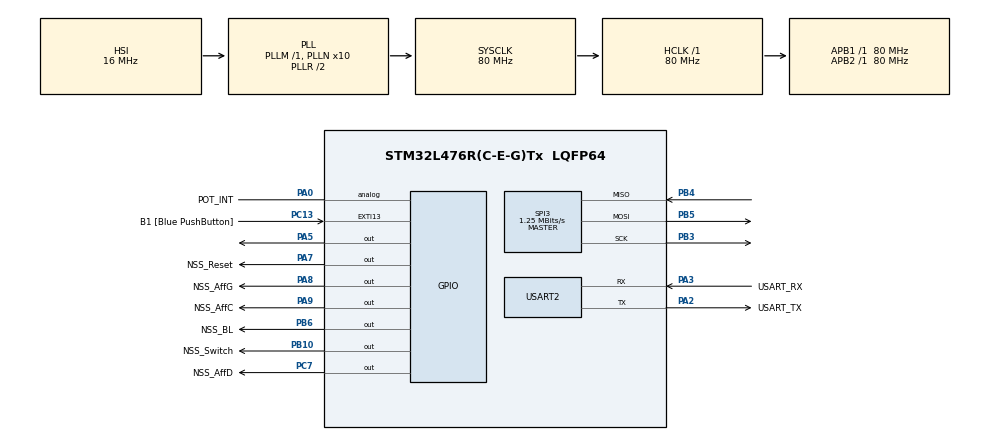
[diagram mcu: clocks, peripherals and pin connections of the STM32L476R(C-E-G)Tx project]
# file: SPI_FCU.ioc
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Mcu.Family=STM32L4
Mcu.Name=STM32L476R(C-E-G)Tx
Mcu.Package=LQFP64
NVIC.PriorityGroup=NVIC_PRIORITYGROUP_4
NVIC.USART2_IRQn=true\:0\:0\:false\:false\:true\:true
PA0.GPIO_Label=POT_INT
PA0.Signal=GPIO_Analog
PA13\ (JTMS-SWDIO).GPIO_Label=TMS
PA13\ (JTMS-SWDIO).Mode=Serial_Wire
PA13\ (JTMS-SWDIO).Signal=SYS_JTMS-SWDIO
PA14\ (JTCK-SWCLK).GPIO_Label=TCK
PA14\ (JTCK-SWCLK).Mode=Serial_Wire
PA14\ (JTCK-SWCLK).Signal=SYS_JTCK-SWCLK
PA2.GPIO_Label=USART_TX
PA2.GPIO_Mode=GPIO_MODE_AF_PP
PA2.GPIO_PuPd=GPIO_NOPULL
PA2.GPIO_Speed=GPIO_SPEED_FREQ_VERY_HIGH
PA2.Mode=Asynchronous
PA2.Signal=USART2_TX
PA3.GPIO_Label=USART_RX
PA3.GPIO_Mode=GPIO_MODE_AF_PP
PA3.GPIO_PuPd=GPIO_NOPULL
PA3.GPIO_Speed=GPIO_SPEED_FREQ_VERY_HIGH
PA3.Mode=Asynchronous
PA3.Signal=USART2_RX
PA5.Signal=GPIO_Output
PA7.GPIO_Label=NSS_Reset
PA7.Signal=GPIO_Output
PA8.GPIO_Label=NSS_AffG
PA8.GPIO_Speed=GPIO_SPEED_FREQ_HIGH
PA8.PinState=GPIO_PIN_SET
PA8.Signal=GPIO_Output
PA9.GPIO_Label=NSS_AffC
PA9.GPIO_Speed=GPIO_SPEED_FREQ_HIGH
PA9.PinState=GPIO_PIN_SET
PA9.Signal=GPIO_Output
PB10.GPIO_Label=NSS_Switch
PB10.GPIO_Speed=GPIO_SPEED_FREQ_HIGH
PB10.PinState=GPIO_PIN_SET
PB10.Signal=GPIO_Output
PB3\ (JTDO-TRACESWO).Mode=Full_Duplex_Master
PB3\ (JTDO-TRACESWO).Signal=SPI3_SCK
PB4\ (NJTRST).Mode=Full_Duplex_Master
PB4\ (NJTRST).Signal=SPI3_MISO
PB5.Mode=Full_Duplex_Master
PB5.Signal=SPI3_MOSI
PB6.GPIO_Label=NSS_BL
PB6.GPIO_Speed=GPIO_SPEED_FREQ_HIGH
PB6.PinState=GPIO_PIN_SET
PB6.Signal=GPIO_Output
PC13.GPIO_Label=B1 [Blue PushButton]
PC13.GPIO_ModeDefaultEXTI=GPIO_MODE_IT_FALLING
PC13.GPIO_PuPd=GPIO_NOPULL
PC13.Signal=GPXTI13
PC14-OSC32_IN\ (PC14).Mode=LSE-External-Oscillator
PC14-OSC32_IN\ (PC14).Signal=RCC_OSC32_IN
PC15-OSC32_OUT\ (PC15).Mode=LSE-External-Oscillator
PC15-OSC32_OUT\ (PC15).Signal=RCC_OSC32_OUT
PC7.GPIO_Label=NSS_AffD
PC7.GPIO_Speed=GPIO_SPEED_FREQ_HIGH
PC7.PinState=GPIO_PIN_SET
PC7.Signal=GPIO_Output
PH0-OSC_IN\ (PH0).Signal=RCC_OSC_IN
PH1-OSC_OUT\ (PH1).Signal=RCC_OSC_OUT
ProjectManager.HeapSize=0x200
ProjectManager.StackSize=0x400
ProjectManager.TargetToolchain=TrueSTUDIO
RCC.ADCFreq_Value=64000000
RCC.AHBFreq_Value=80000000
RCC.APB1Freq_Value=80000000
RCC.APB1TimFreq_Value=80000000
RCC.APB2Freq_Value=80000000
RCC.APB2TimFreq_Value=80000000
RCC.CortexFreq_Value=80000000
RCC.HCLKFreq_Value=80000000
RCC.HSE_VALUE=8000000
RCC.HSI_VALUE=16000000
RCC.MSI_VALUE=4000000
RCC.PLLN=10
RCC.PLLSourceVirtual=RCC_PLLSOURCE_HSI
RCC.PREFETCH_ENABLE=1
RCC.SYSCLKFreq_VALUE=80000000
RCC.SYSCLKSource=RCC_SYSCLKSOURCE_PLLCLK
RCC.USBFreq_Value=64000000
RCC.VCOOutputFreq_Value=160000000
SPI3.BaudRatePrescaler=SPI_BAUDRATEPRESCALER_64
SPI3.CLKPolarity=SPI_POLARITY_HIGH
SPI3.CalculateBaudRate=1.25 MBits/s
SPI3.DataSize=SPI_DATASIZE_8BIT
SPI3.Direction=SPI_DIRECTION_2LINES
SPI3.Mode=SPI_MODE_MASTER
SPI3.VirtualType=VM_MASTER
USART2.VirtualMode-Asynchronous=VM_ASYNC
USART2.WordLength=WORDLENGTH_8B
board=NUCLEO-L476RG

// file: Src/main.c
/**
  ******************************************************************************
  * @file           : main.c
  * @brief          : Main program body
  ******************************************************************************
  ** This notice applies to any and all portions of this file
  * that are not between comment pairs USER CODE BEGIN and
  * USER CODE END. Other portions of this file, whether
  * inserted by the user or by software development tools
  * are owned by their respective copyright owners.
  *
  * COPYRIGHT(c) 2018 STMicroelectronics
  *
  * Redistribution and use in source and binary forms, with or without modification,
  * are permitted provided that the following conditions are met:
  *   1. Redistributions of source code must retain the above copyright notice,
  *      this list of conditions and the following disclaimer.
  *   2. Redistributions in binary form must reproduce the above copyright notice,
  *      this list of conditions and the following disclaimer in the documentation
  *      and/or other materials provided with the distribution.
  *   3. Neither the name of STMicroelectronics nor the names of its contributors
  *      may be used to endorse or promote products derived from this software
  *      without specific prior written permission.
  *
  * THIS SOFTWARE IS PROVIDED BY THE COPYRIGHT HOLDERS AND CONTRIBUTORS "AS IS"
  * AND ANY EXPRESS OR IMPLIED WARRANTIES, INCLUDING, BUT NOT LIMITED TO, THE
  * IMPLIED WARRANTIES OF MERCHANTABILITY AND FITNESS FOR A PARTICULAR PURPOSE ARE
  * DISCLAIMED. IN NO EVENT SHALL THE COPYRIGHT HOLDER OR CONTRIBUTORS BE LIABLE
  * FOR ANY DIRECT, INDIRECT, INCIDENTAL, SPECIAL, EXEMPLARY, OR CONSEQUENTIAL
  * DAMAGES (INCLUDING, BUT NOT LIMITED TO, PROCUREMENT OF SUBSTITUTE GOODS OR
  * SERVICES; LOSS OF USE, DATA, OR PROFITS; OR BUSINESS INTERRUPTION) HOWEVER
  * CAUSED AND ON ANY THEORY OF LIABILITY, WHETHER IN CONTRACT, STRICT LIABILITY,
  * OR TORT (INCLUDING NEGLIGENCE OR OTHERWISE) ARISING IN ANY WAY OUT OF THE USE
  * OF THIS SOFTWARE, EVEN IF ADVISED OF THE POSSIBILITY OF SUCH DAMAGE.
  *
  * Cet exemple teste l'affichage de la partie gauche du FCU
  *
  ******************************************************************************
  */
#include "main.h"
#include "stm32l4xx_hal.h"
#include "fcu_functions.h"

/* USER CODE BEGIN Includes */

#define LOW 0
#define HIGH 1

#define swGauche0 0
#define swGauche1 1
#define swCentre0 2
#define swCentre1 3
#define swDroite0 4
#define swDroite1 5

/* USER CODE END Includes */

UART_HandleTypeDef huart2;

/* USER CODE BEGIN PV */
/* Private variables ---------------------------------------------------------*/

int data_receive;
char Rx_indx, Rx_Buffer[100], buffer[100], inputByte[15];
uint8_t noOp = 0; len = 0, Transfer_cplt = 0, Rx_data[2], spidata[16], dataSwitch[6];

int swGauche0A = 0; swGauche0B = 0; swGauche1A = 0; swGauche1B = 0; swCentre0A = 0; swCentre0B = 0;
int swCentre1A = 0; swCentre1B = 0; swDroite0A = 0; swDroite0B = 0; swDroite1A = 0; swDroite1B = 0;
uint8_t Gauche = 0; uint8_t Centre = 0; uint8_t Droite = 0;

/* USER CODE END PV */

void SystemClock_Config(void);
static void MX_GPIO_Init(void);
static void MX_USART2_UART_Init(void);
static void MX_SPI3_Init(void);

/* USER CODE BEGIN PFP */
/* Private function prototypes -----------------------------------------------*/

/* USER CODE END PFP */

/* USER CODE BEGIN 0 */

// Afficher sur le port série
void Serial_Transmit_Str(char* str)
{
	HAL_UART_Transmit(&huart2, str, strlen(str), 1000);
}

void Serial_Transmit_Int(uint8_t i[])
{
	HAL_UART_Transmit(&huart2, i, strlen(i), 1000);
}

void Serial_Transmit_I(int * i)
{
	HAL_UART_Transmit(&huart2, i, 1, 1000);
}

// Recevoir une donnée du port série par interruption
void HAL_UART_RxCpltCallback(UART_HandleTypeDef *huart)
{
	int i;

	if(huart->Instance == USART2)
	{
		if(Rx_indx==0) {for(i=0; i<100;i++) Rx_Buffer[i]=0;}

		Rx_Buffer[Rx_indx++]=Rx_data[0];
		Transfer_cplt = 1;

		//HAL_UART_Receive_IT(&huart2, Rx_data, 1);
	}
}

// Changer la polarité de l'horloge (Elle doit être à HIGH pour l'afficheur et à LOW pour les switchs)
int setClockPolarity(int cpol)
{
	if(cpol)
		hspi3.Init.CLKPolarity = SPI_POLARITY_HIGH;
	else
		hspi3.Init.CLKPolarity = SPI_POLARITY_LOW;

	if (HAL_SPI_Init(&hspi3) != HAL_OK)
	{
		return 0;
	}
	return 1;
}

int bitRead(uint8_t byte, int nb)
{
	if(nb > 8 || nb < 0)
		return -1;
	return (byte >> nb) & 1;
}

int bitSet(uint8_t byte, int nb)
{
	if(nb > 8 || nb < 0)
		return -1;
	return byte | (1 << nb);
}

int bitClear(uint8_t byte, int nb)
{
	if(nb > 8 || nb < 0)
		return -1;
	return byte & ~(1 << nb);
}

void refreshGauche()
{
	swGauche0A = FCU_ReceiveSW(swGauche0, RGPIOA);
	swGauche0B = FCU_ReceiveSW(swGauche0, RGPIOB);
	swGauche1A = FCU_ReceiveSW(swGauche1, RGPIOA);
	swGauche1B = FCU_ReceiveSW(swGauche1, RGPIOB);
	dataSwitch[0] = 0;
	dataSwitch[5] = 255;
	dataSwitch[1] = bitRead(swGauche1B, 5)*128 + bitRead(swGauche1B, 4)*64 + bitRead(swGauche1A, 7)*32 + bitRead(swGauche1B, 7)*16 +
			bitRead(swGauche1A, 6)*8 + bitRead(swGauche1A, 5)*4 + bitRead(swGauche1A, 4)*2 + bitRead(swGauche1A, 3);

	dataSwitch[2] = bitRead(swGauche0B, 0)*128 + bitRead(swGauche0B, 1)*64 + bitRead(swGauche0B, 2)*32 + bitRead(swGauche0B, 3)*16 +
			bitRead(swGauche0B, 4)*8 + bitRead(swGauche1A, 0)*4 + bitRead(swGauche0A, 5)*2 + bitRead(swGauche0A, 7);

	dataSwitch[3] = bitRead(swGauche0A, 6)*128 + bitRead(swGauche0A, 4)*64 + bitRead(swGauche0A, 2)*32 + bitRead(swGauche0B, 7)*16 +
			bitRead(swGauche0B, 6)*8 + bitRead(swGauche0B, 5)*4 + bitRead(swGauche0A, 1)*2 + bitRead(swGauche0A, 0);

	dataSwitch[4] = bitRead(swGauche1A, 2)*128 + bitRead(swGauche1A, 1)*64;
	for(int i = 0; i < 6; i++)
	{
		Serial_Transmit_I(&dataSwitch[i]);
	}
}

void refreshCentre()
{
	swCentre0A = FCU_ReceiveSW(swCentre0, RGPIOA);
	swCentre0B = FCU_ReceiveSW(swCentre0, RGPIOB);
	swCentre1A = FCU_ReceiveSW(swCentre1, RGPIOA);
	swCentre1B = FCU_ReceiveSW(swCentre1, RGPIOB);
	dataSwitch[0] = 1;
	dataSwitch[5] = 254;
	dataSwitch[1] = bitRead(swCentre0A, 2)*128 + bitRead(swCentre0A, 3)*64 + bitRead(swCentre0A, 1)*32 + bitRead(swCentre0A, 0)*16 +
	             bitRead(swCentre0A, 6)*8 + bitRead(swCentre0A, 7)*4 + bitRead(swCentre0A, 5)*2 + bitRead(swCentre0A, 4);

	dataSwitch[2] = bitRead(swCentre0B, 3)*128 + bitRead(swCentre0B, 1)*64 + bitRead(swCentre0B, 4)*32 + bitRead(swCentre0B, 5)*16 +
				 bitRead(swCentre0B, 2)*8 + bitRead(swCentre1A, 1)*4 + bitRead(swCentre1B, 1)*2 + bitRead(swCentre1B, 0);

	dataSwitch[3] = bitRead(swCentre1B, 7)*128 + bitRead(swCentre1B, 6)*64 + bitRead(swCentre1B, 5)*32 + bitRead(swCentre1B, 4)*16 +
				 bitRead(swCentre1A, 6)*8 + bitRead(swCentre1A, 7)*4 + bitRead(swCentre1A, 5)*2 + bitRead(swCentre1A, 4);

	dataSwitch[4] = bitRead(swCentre1A, 3)*128 + bitRead(swCentre1A, 2)*64 + bitRead(swCentre0B, 7)*32 + bitRead(swCentre0B, 6)*16 +
				 bitRead(swCentre1B, 2)*8 + bitRead(swCentre1B, 3)*4;
	for(int i = 0; i < 6; i++)
	{
		Serial_Transmit_I(&dataSwitch[i]);
	}
}

void refreshDroite()
{
	swDroite0A = FCU_ReceiveSW(swDroite0, RGPIOA);
	swDroite0B = FCU_ReceiveSW(swDroite0, RGPIOB);
	swDroite1A = FCU_ReceiveSW(swDroite1, RGPIOA);
	swDroite1B = FCU_ReceiveSW(swDroite1, RGPIOB);
	dataSwitch[0] = 2;
	dataSwitch[5] = 253;
	dataSwitch[1] = bitRead(swDroite1B, 5)*128 + bitRead(swDroite1B, 4)*64 + bitRead(swDroite1A, 1)*32 + bitRead(swDroite1B, 7)*16 +
	             bitRead(swDroite1A, 3)*8 + bitRead(swDroite1A, 2)*4 + bitRead(swDroite1A, 4)*2 + bitRead(swDroite1A, 5);

	dataSwitch[2] = bitRead(swDroite0B, 4)*128 + bitRead(swDroite0B, 3)*64 + bitRead(swDroite0B, 2)*32 + bitRead(swDroite0B, 1)*16 +
	             bitRead(swDroite0B, 0)*8 + bitRead(swDroite0A, 1)*4 + bitRead(swDroite0B, 7)*2 + bitRead(swDroite0B, 6);

	dataSwitch[3] = bitRead(swDroite0B, 5)*128 + bitRead(swDroite0A, 0)*64 + bitRead(swDroite0A, 2)*32 + bitRead(swDroite0A, 5)*16 +
	             bitRead(swDroite0A, 7)*8 + bitRead(swDroite0A, 6)*4 + bitRead(swDroite0A, 4)*2 + bitRead(swDroite0A, 3);

	dataSwitch[4] = bitRead(swDroite1B, 1)*128 + bitRead(swDroite1B, 2)*64;
	for(int i = 0; i < 6; i++)
	{
		Serial_Transmit_I(&dataSwitch[i]);
	}
}

/* USER CODE END 0 */

int main(void)
{

  /* MCU Configuration----------------------------------------------------------*/

  /* Reset of all peripherals, Initializes the Flash interface and the Systick. */
  HAL_Init();

  /* Configure the system clock */
  SystemClock_Config();

  /* Initialize all configured peripherals */
  MX_GPIO_Init();
  MX_USART2_UART_Init();
  MX_SPI3_Init();
  /* USER CODE BEGIN 2 */
  HAL_UART_Receive_IT(&huart2, Rx_data, 1);
  HAL_GPIO_WritePin(NSS_Reset_GPIO_Port, NSS_Reset_Pin, GPIO_PIN_RESET);
  HAL_Delay(1);
  HAL_GPIO_WritePin(NSS_Reset_GPIO_Port, NSS_Reset_Pin, GPIO_PIN_SET);
  FCU_Affich_Init();

  while (!Transfer_cplt)
  {
	  Serial_Transmit_Str("Contact");
	  HAL_Delay(100);
  }
  Transfer_cplt = 0;
  Rx_indx = 0;

  setClockPolarity(LOW);
  FCU_Switchs_Init();

/* USER CODE END 2 */

  /* Infinite loop */
  /* USER CODE BEGIN WHILE */
  while (1)
  {
	  refreshGauche();
	  HAL_UART_Receive(&huart2, inputByte, 15, 1000);
	  refreshCentre();
	  HAL_UART_Receive(&huart2, inputByte, 15, 1000);
	  refreshDroite();
	  HAL_UART_Receive(&huart2, inputByte, 15, 1000);

	for(int i = 0; i < 8; i++)
	{
	  if(bitRead(inputByte[0], 7-i)) // LEDs de Gauche
		  Gauche = bitSet(Gauche, i);
	  else
		  Gauche = bitClear(Gauche, i);

	  if(bitRead(inputByte[2], 7-i)) // LEDs de Droite
		  Droite = bitSet(Droite, i);
	  else
		  Droite = bitClear(Droite, i);

	  if(i == 0 || i == 7) continue;
	  if(bitRead(inputByte[1], 7-i)) // LEDs du Centre
		  Centre = bitSet(Centre, i);
	  else
		  Centre = bitClear(Centre, i);
	}

		FCU_Transmit_G(5, Gauche);
		FCU_Transmit_D(5, Droite);
		FCU_Transmit_C(2, 6, Centre);

		FCU_Transmit_G(1, bitRead(inputByte[3], 4) + bitRead(inputByte[3], 5)*2 + bitRead(inputByte[3], 6)*4 + bitRead(inputByte[3], 7)*8);
		FCU_Transmit_G(2, bitRead(inputByte[3], 0) + bitRead(inputByte[3], 1)*2 + bitRead(inputByte[3], 2)*4 + bitRead(inputByte[3], 3)*8);
		FCU_Transmit_G(3, bitRead(inputByte[4], 4) + bitRead(inputByte[4], 5)*2 + bitRead(inputByte[4], 6)*4 + bitRead(inputByte[4], 7)*8);
		FCU_Transmit_G(4, bitRead(inputByte[4], 0) + bitRead(inputByte[4], 1)*2 + bitRead(inputByte[4], 2)*4 + bitRead(inputByte[4], 3)*8);

		FCU_Transmit_D(1, bitRead(inputByte[5], 4) + bitRead(inputByte[5], 5)*2 + bitRead(inputByte[5], 6)*4 + bitRead(inputByte[5], 7)*8);
		FCU_Transmit_D(2, bitRead(inputByte[5], 0) + bitRead(inputByte[5], 1)*2 + bitRead(inputByte[5], 2)*4 + bitRead(inputByte[5], 3)*8);
		FCU_Transmit_D(3, bitRead(inputByte[6], 4) + bitRead(inputByte[6], 5)*2 + bitRead(inputByte[6], 6)*4 + bitRead(inputByte[6], 7)*8);
		FCU_Transmit_D(4, bitRead(inputByte[6], 0) + bitRead(inputByte[6], 1)*2 + bitRead(inputByte[6], 2)*4 + bitRead(inputByte[6], 3)*8);

		FCU_Transmit_C(1, 1, bitRead(inputByte[7], 4) + bitRead(inputByte[7], 5)*2 + bitRead(inputByte[7], 6)*4 + bitRead(inputByte[7], 7)*8);
		FCU_Transmit_C(1, 2, bitRead(inputByte[7], 0) + bitRead(inputByte[7], 1)*2 + bitRead(inputByte[7], 2)*4 + bitRead(inputByte[7], 3)*8);
		FCU_Transmit_C(1, 3, bitRead(inputByte[8], 4) + bitRead(inputByte[8], 5)*2 + bitRead(inputByte[8], 6)*4 + bitRead(inputByte[8], 7)*8);
		FCU_Transmit_C(1, 4, bitRead(inputByte[8], 0) + bitRead(inputByte[8], 1)*2 + bitRead(inputByte[8], 2)*4 + bitRead(inputByte[8], 3)*8);
		FCU_Transmit_C(1, 5, bitRead(inputByte[9], 4) + bitRead(inputByte[9], 5)*2 + bitRead(inputByte[9], 6)*4 + bitRead(inputByte[9], 7)*8);
		FCU_Transmit_C(1, 6, bitRead(inputByte[9], 0) + bitRead(inputByte[9], 1)*2 + bitRead(inputByte[9], 2)*4 + bitRead(inputByte[9], 3)*8);

		FCU_Transmit_C(2, 1, bitRead(inputByte[10], 4) + bitRead(inputByte[10], 5)*2 + bitRead(inputByte[10], 6)*4 + bitRead(inputByte[10], 7)*8);
		FCU_Transmit_C(2, 2, bitRead(inputByte[10], 0) + bitRead(inputByte[10], 1)*2 + bitRead(inputByte[10], 2)*4 + bitRead(inputByte[10], 3)*8);
		FCU_Transmit_C(2, 3, bitRead(inputByte[11], 4) + bitRead(inputByte[11], 5)*2 + bitRead(inputByte[11], 6)*4 + bitRead(inputByte[11], 7)*8);
		FCU_Transmit_C(2, 4, bitRead(inputByte[11], 0) + bitRead(inputByte[11], 1)*2 + bitRead(inputByte[11], 2)*4 + bitRead(inputByte[11], 3)*8);
		FCU_Transmit_C(2, 5, bitRead(inputByte[12], 4) + bitRead(inputByte[12], 5)*2 + bitRead(inputByte[12], 6)*4 + bitRead(inputByte[12], 7)*8);

		FCU_Transmit_C(3, 1, bitRead(inputByte[12], 0) + bitRead(inputByte[12], 1)*2 + bitRead(inputByte[12], 2)*4 + bitRead(inputByte[12], 3)*8);
		FCU_Transmit_C(3, 2, bitRead(inputByte[13], 4) + bitRead(inputByte[13], 5)*2 + bitRead(inputByte[13], 6)*4 + bitRead(inputByte[13], 7)*8);
		FCU_Transmit_C(3, 3, bitRead(inputByte[13], 0) + bitRead(inputByte[13], 1)*2 + bitRead(inputByte[13], 2)*4 + bitRead(inputByte[13], 3)*8);
		FCU_Transmit_C(3, 4, bitRead(inputByte[14], 4) + bitRead(inputByte[14], 5)*2 + bitRead(inputByte[14], 6)*4 + bitRead(inputByte[14], 7)*8);
		FCU_Transmit_C(3, 5, bitRead(inputByte[14], 0) + bitRead(inputByte[14], 1)*2 + bitRead(inputByte[14], 2)*4 + bitRead(inputByte[14], 3)*8);
  /* USER CODE END WHILE */

  }
}

void SystemClock_Config(void)
{

  RCC_OscInitTypeDef RCC_OscInitStruct;
  RCC_ClkInitTypeDef RCC_ClkInitStruct;
  RCC_PeriphCLKInitTypeDef PeriphClkInit;

    /**Initializes the CPU, AHB and APB busses clocks
    */
  RCC_OscInitStruct.OscillatorType = RCC_OSCILLATORTYPE_HSI;
  RCC_OscInitStruct.HSIState = RCC_HSI_ON;
  RCC_OscInitStruct.HSICalibrationValue = 16;
  RCC_OscInitStruct.PLL.PLLState = RCC_PLL_ON;
  RCC_OscInitStruct.PLL.PLLSource = RCC_PLLSOURCE_HSI;
  RCC_OscInitStruct.PLL.PLLM = 1;
  RCC_OscInitStruct.PLL.PLLN = 10;
  RCC_OscInitStruct.PLL.PLLP = RCC_PLLP_DIV7;
  RCC_OscInitStruct.PLL.PLLQ = RCC_PLLQ_DIV2;
  RCC_OscInitStruct.PLL.PLLR = RCC_PLLR_DIV2;
  if (HAL_RCC_OscConfig(&RCC_OscInitStruct) != HAL_OK)
  {
    _Error_Handler(__FILE__, __LINE__);
  }

    /**Initializes the CPU, AHB and APB busses clocks
    */
  RCC_ClkInitStruct.ClockType = RCC_CLOCKTYPE_HCLK|RCC_CLOCKTYPE_SYSCLK
                              |RCC_CLOCKTYPE_PCLK1|RCC_CLOCKTYPE_PCLK2;
  RCC_ClkInitStruct.SYSCLKSource = RCC_SYSCLKSOURCE_PLLCLK;
  RCC_ClkInitStruct.AHBCLKDivider = RCC_SYSCLK_DIV1;
  RCC_ClkInitStruct.APB1CLKDivider = RCC_HCLK_DIV1;
  RCC_ClkInitStruct.APB2CLKDivider = RCC_HCLK_DIV1;

  if (HAL_RCC_ClockConfig(&RCC_ClkInitStruct, FLASH_LATENCY_4) != HAL_OK)
  {
    _Error_Handler(__FILE__, __LINE__);
  }

  PeriphClkInit.PeriphClockSelection = RCC_PERIPHCLK_USART2;
  PeriphClkInit.Usart2ClockSelection = RCC_USART2CLKSOURCE_PCLK1;
  if (HAL_RCCEx_PeriphCLKConfig(&PeriphClkInit) != HAL_OK)
  {
    _Error_Handler(__FILE__, __LINE__);
  }

    /**Configure the main internal regulator output voltage
    */
  if (HAL_PWREx_ControlVoltageScaling(PWR_REGULATOR_VOLTAGE_SCALE1) != HAL_OK)
  {
    _Error_Handler(__FILE__, __LINE__);
  }

    /**Configure the Systick interrupt time
    */
  HAL_SYSTICK_Config(HAL_RCC_GetHCLKFreq()/1000);

    /**Configure the Systick
    */
  HAL_SYSTICK_CLKSourceConfig(SYSTICK_CLKSOURCE_HCLK);

  /* SysTick_IRQn interrupt configuration */
  HAL_NVIC_SetPriority(SysTick_IRQn, 0, 0);
}

/* SPI3 init function */
static void MX_SPI3_Init(void)
{

  /* SPI3 parameter configuration*/
  hspi3.Instance = SPI3;
  hspi3.Init.Mode = SPI_MODE_MASTER;
  hspi3.Init.Direction = SPI_DIRECTION_2LINES;
  hspi3.Init.DataSize = SPI_DATASIZE_8BIT;
  hspi3.Init.CLKPolarity = SPI_POLARITY_HIGH;
  hspi3.Init.CLKPhase = SPI_PHASE_1EDGE;
  hspi3.Init.NSS = SPI_NSS_SOFT;
  hspi3.Init.BaudRatePrescaler = SPI_BAUDRATEPRESCALER_64;
  hspi3.Init.FirstBit = SPI_FIRSTBIT_MSB;
  hspi3.Init.TIMode = SPI_TIMODE_DISABLE;
  hspi3.Init.CRCCalculation = SPI_CRCCALCULATION_DISABLE;
  hspi3.Init.CRCPolynomial = 7;
  hspi3.Init.CRCLength = SPI_CRC_LENGTH_DATASIZE;
  hspi3.Init.NSSPMode = SPI_NSS_PULSE_ENABLE;
  if (HAL_SPI_Init(&hspi3) != HAL_OK)
  {
    _Error_Handler(__FILE__, __LINE__);
  }
}

/* USART2 init function */
static void MX_USART2_UART_Init(void)
{

  huart2.Instance = USART2;
  huart2.Init.BaudRate = 9600;
  huart2.Init.WordLength = UART_WORDLENGTH_8B;
  huart2.Init.StopBits = UART_STOPBITS_1;
  huart2.Init.Parity = UART_PARITY_NONE;
  huart2.Init.Mode = UART_MODE_TX_RX;
  huart2.Init.HwFlowCtl = UART_HWCONTROL_NONE;
  huart2.Init.OverSampling = UART_OVERSAMPLING_16;
  huart2.Init.OneBitSampling = UART_ONE_BIT_SAMPLE_DISABLE;
  huart2.AdvancedInit.AdvFeatureInit = UART_ADVFEATURE_NO_INIT;
  if (HAL_UART_Init(&huart2) != HAL_OK)
  {
    _Error_Handler(__FILE__, __LINE__);
  }

}

/** Configure pins as
        * Analog
        * Input
        * Output
        * EVENT_OUT
        * EXTI
*/
static void MX_GPIO_Init(void)
{

  GPIO_InitTypeDef GPIO_InitStruct;

  /* GPIO Ports Clock Enable */
  __HAL_RCC_GPIOC_CLK_ENABLE();
  __HAL_RCC_GPIOH_CLK_ENABLE();
  __HAL_RCC_GPIOA_CLK_ENABLE();
  __HAL_RCC_GPIOB_CLK_ENABLE();

  /*Configure GPIO pin Output Level */
  HAL_GPIO_WritePin(GPIOA, GPIO_PIN_5|NSS_Reset_Pin, GPIO_PIN_RESET);

  /*Configure GPIO pin Output Level */
  HAL_GPIO_WritePin(GPIOB, NSS_Switch_Pin|NSS_BL_Pin, GPIO_PIN_SET);

  /*Configure GPIO pin Output Level */
  HAL_GPIO_WritePin(NSS_AffD_GPIO_Port, NSS_AffD_Pin, GPIO_PIN_SET);

  /*Configure GPIO pin Output Level */
  HAL_GPIO_WritePin(GPIOA, NSS_AffG_Pin|NSS_AffC_Pin, GPIO_PIN_SET);

  /*Configure GPIO pin : B1_Pin */
  GPIO_InitStruct.Pin = B1_Pin;
  GPIO_InitStruct.Mode = GPIO_MODE_IT_FALLING;
  GPIO_InitStruct.Pull = GPIO_NOPULL;
  HAL_GPIO_Init(B1_GPIO_Port, &GPIO_InitStruct);

  /*Configure GPIO pin : POT_INT_Pin */
  GPIO_InitStruct.Pin = POT_INT_Pin;
  GPIO_InitStruct.Mode = GPIO_MODE_ANALOG;
  GPIO_InitStruct.Pull = GPIO_NOPULL;
  HAL_GPIO_Init(POT_INT_GPIO_Port, &GPIO_InitStruct);

  /*Configure GPIO pins : PA5 NSS_Reset_Pin */
  GPIO_InitStruct.Pin = GPIO_PIN_5|NSS_Reset_Pin;
  GPIO_InitStruct.Mode = GPIO_MODE_OUTPUT_PP;
  GPIO_InitStruct.Pull = GPIO_NOPULL;
  GPIO_InitStruct.Speed = GPIO_SPEED_FREQ_LOW;
  HAL_GPIO_Init(GPIOA, &GPIO_InitStruct);

  /*Configure GPIO pins : NSS_Switch_Pin NSS_BL_Pin */
  GPIO_InitStruct.Pin = NSS_Switch_Pin|NSS_BL_Pin;
  GPIO_InitStruct.Mode = GPIO_MODE_OUTPUT_PP;
  GPIO_InitStruct.Pull = GPIO_NOPULL;
  GPIO_InitStruct.Speed = GPIO_SPEED_FREQ_HIGH;
  HAL_GPIO_Init(GPIOB, &GPIO_InitStruct);

  /*Configure GPIO pin : NSS_AffD_Pin */
  GPIO_InitStruct.Pin = NSS_AffD_Pin;
  GPIO_InitStruct.Mode = GPIO_MODE_OUTPUT_PP;
  GPIO_InitStruct.Pull = GPIO_NOPULL;
  GPIO_InitStruct.Speed = GPIO_SPEED_FREQ_HIGH;
  HAL_GPIO_Init(NSS_AffD_GPIO_Port, &GPIO_InitStruct);

  /*Configure GPIO pins : NSS_AffG_Pin NSS_AffC_Pin */
  GPIO_InitStruct.Pin = NSS_AffG_Pin|NSS_AffC_Pin;
  GPIO_InitStruct.Mode = GPIO_MODE_OUTPUT_PP;
  GPIO_InitStruct.Pull = GPIO_NOPULL;
  GPIO_InitStruct.Speed = GPIO_SPEED_FREQ_HIGH;
  HAL_GPIO_Init(GPIOA, &GPIO_InitStruct);

}

void _Error_Handler(char *file, int line)
{
  while(1)
  {
  }
}

/************************ (C) COPYRIGHT STMicroelectronics *****END OF FILE****/
